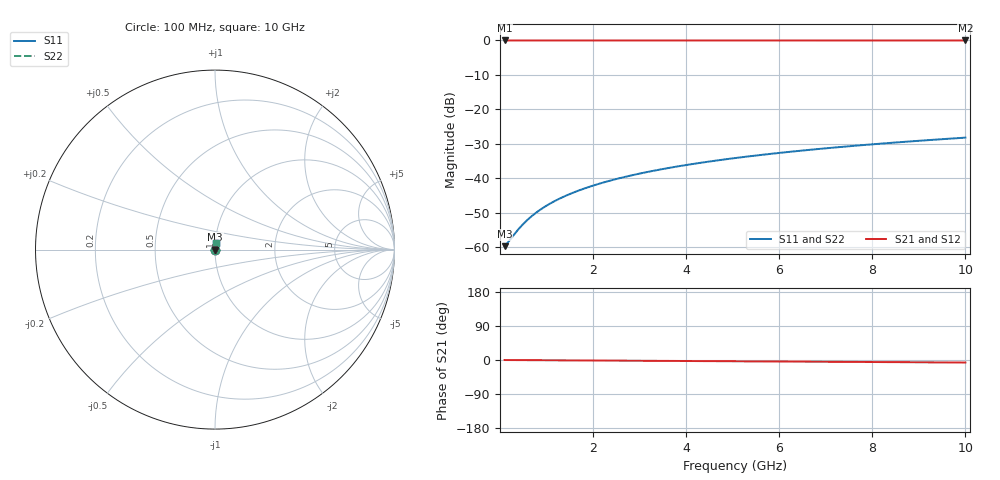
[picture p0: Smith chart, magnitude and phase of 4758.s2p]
# Hz S RI R 50.00
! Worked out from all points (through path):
!   100 points, 100 MHz to 10 GHz, reference 50 ohm
!   highest |S21| = -0.01 dB at 100 MHz (marker M1); lowest = 0.0 dB at 10 GHz (marker M2)
!   lowest |S11| = -59.7 dB at 100 MHz (marker M3), VSWR 1.00, Z = 50.1 + j0.0389 ohm
!   |S11| at or under -10 dB: start of sweep to end of sweep
!   |S22| runs from -59.7 to -28.2 dB; largest |S21 - S12| = 0
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1e8  0.000965 0.000388  0.999 -0.00116  0.999 -0.00116  0.000965 0.000388
2e8  0.000973 0.000777  0.999 -0.00232  0.999 -0.00232  0.000973 0.000777
4e8  0.000986 0.00155  0.999 -0.00464  0.999 -0.00464  0.000986 0.00155
5e8  0.000993 0.00194  0.999 -0.0058  0.999 -0.0058  0.000993 0.00194
6e8  0.001 0.00233  0.999 -0.00696  0.999 -0.00696  0.001 0.00233
7e8  0.00101 0.00272  0.999 -0.00812  0.999 -0.00812  0.00101 0.00272
8e8  0.00102 0.00311  0.999 -0.00928  0.999 -0.00928  0.00102 0.00311
1e9  0.00104 0.00388  0.9989 -0.0116  0.9989 -0.0116  0.00104 0.00388
1.2e9  0.00106 0.00466  0.9989 -0.0139  0.9989 -0.0139  0.00106 0.00466
1.5e9  0.0011 0.00582  0.9988 -0.0174  0.9988 -0.0174  0.0011 0.00582
1.8e9  0.00115 0.00699  0.9987 -0.0209  0.9987 -0.0209  0.00115 0.00699
2.1e9  0.00121 0.00815  0.9986 -0.0244  0.9986 -0.0244  0.00121 0.00815
2.5e9  0.00129 0.0097  0.9985 -0.029  0.9985 -0.029  0.00129 0.0097
2.9e9  0.00139 0.0113  0.9983 -0.0336  0.9983 -0.0336  0.00139 0.0113
3.4e9  0.00154 0.0132  0.9981 -0.0394  0.9981 -0.0394  0.00154 0.0132
4.2e9  0.00182 0.0163  0.9976 -0.0487  0.9976 -0.0487  0.00182 0.0163
5.1e9  0.0022 0.0198  0.997 -0.0592  0.997 -0.0592  0.0022 0.0198
5.9e9  0.00261 0.0228  0.9963 -0.0684  0.9963 -0.0684  0.00261 0.0228
6.7e9  0.00307 0.0259  0.9955 -0.0777  0.9955 -0.0777  0.00307 0.0259
7.5e9  0.00359 0.029  0.9947 -0.087  0.9947 -0.087  0.00359 0.029
8.4e9  0.00424 0.0325  0.9936 -0.0975  0.9936 -0.0975  0.00424 0.0325
1e10  0.00558 0.0386  0.9913 -0.116  0.9913 -0.116  0.00558 0.0386
